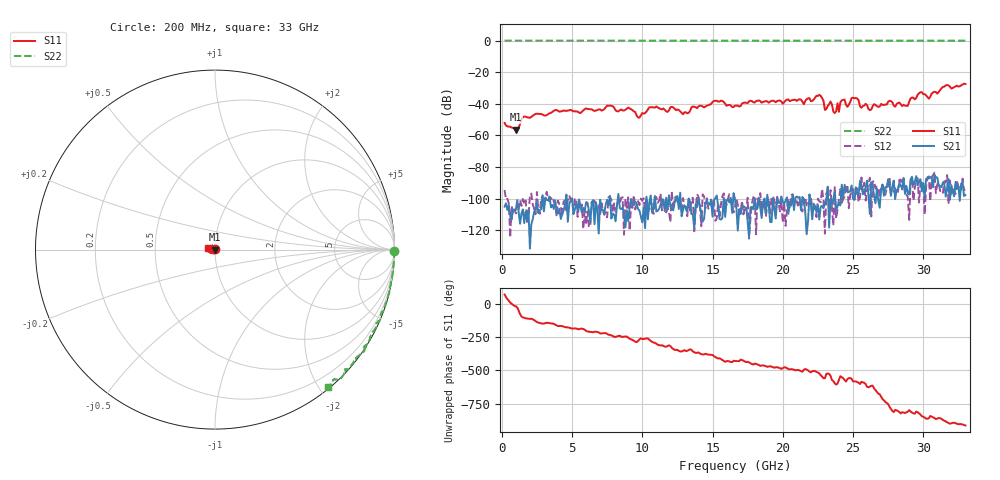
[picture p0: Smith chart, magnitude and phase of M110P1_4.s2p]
# GHZ S RI R 50
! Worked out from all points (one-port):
!   329 points, 200 MHz to 33 GHz, reference 50 ohm
!   lowest |S11| = -56.4 dB at 1 GHz (marker M1), VSWR 1.00, Z = 50.1 - j0.0502 ohm
!   |S11| at or under -10 dB: start of sweep to end of sweep
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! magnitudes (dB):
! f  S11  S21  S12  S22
! 200 MHz  -52.1  -105.0  -94.4  0.0
! 1 GHz  -56.4  -107.1  -109.2  0.0
! 1.6 GHz  -48.0  -115.4  -103.3  0.0
! 5.7 GHz  -45.0  -108.8  -103.6  0.0
! 7.7 GHz  -41.1  -98.1  -98.9  0.0
! 9.8 GHz  -48.7  -107.4  -104.0  0.0
! 11.2 GHz  -42.8  -106.3  -101.1  0.0
! 16.6 GHz  -41.1  -100.2  -105.0  -0.1
! 22.1 GHz  -38.2  -113.0  -105.8  0.0
! 22.6 GHz  -34.3  -113.0  -101.6  -0.1
! 23 GHz  -43.8  -102.1  -122.1  0.0
! 23.4 GHz  -38.5  -100.4  -94.5  -0.1
! 23.7 GHz  -45.8  -95.8  -92.6  0.0
! 24.3 GHz  -37.5  -99.6  -100.1  0.0
! 24.6 GHz  -41.9  -95.5  -91.1  0.0
! 25.2 GHz  -36.3  -92.8  -93.0  0.0
! 26.2 GHz  -44.0  -109.6  -86.7  0.0
! 27.6 GHz  -38.0  -90.6  -86.5  0.0
! 28.9 GHz  -41.2  -96.5  -98.8  -0.1
! 29.8 GHz  -32.6  -87.7  -90.0  -0.1
! 30.4 GHz  -36.7  -85.8  -86.7  0.0
! 33 GHz  -27.5  -97.7  -94.3  -0.1
